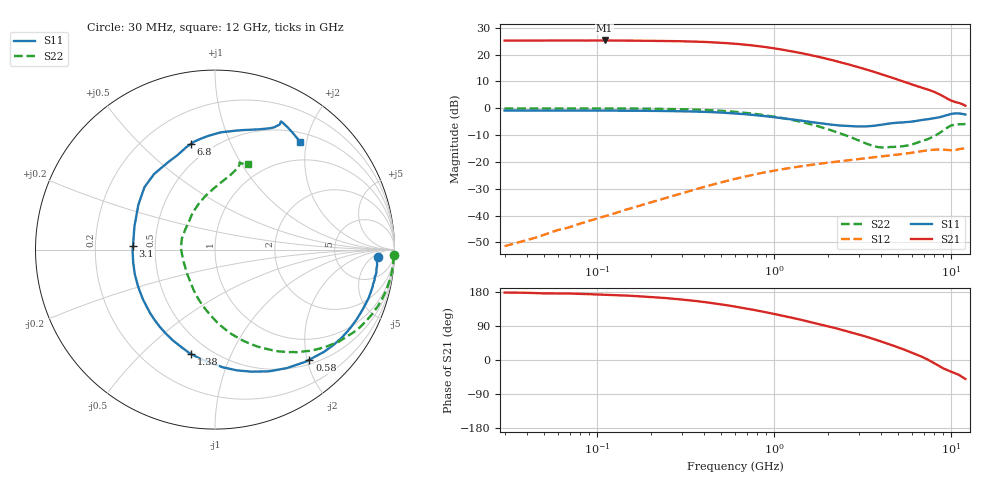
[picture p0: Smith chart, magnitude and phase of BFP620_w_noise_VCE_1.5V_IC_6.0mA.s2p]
! Infineon Technologies  Discrete & RF Semiconductors
! BFP620
! VCE =  1.5 V,  IC =  6.0 mA
! Common Emitter S-Parameters:  Nov 2015
# GHz  S  MA  R  50
!  f  S11  S21  S12  S22
! GHz  MAG  ANG  MAG  ANG  MAG  ANG  MAG  ANG
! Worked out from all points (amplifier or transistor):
!   239 points, 30 MHz to 12 GHz, reference 50 ohm
!   highest |S21| = 25.3 dB at 110 MHz (marker M1)
!   |S21| within 3 dB of that: start of sweep to 1.013 GHz
!   unconditionally stable (mu >= 1): 5.049 GHz to end of sweep
!   at 300 MHz: K = 0.09, MSG = 28.3 dB, |S12| = -31.7 dB
!   at 1.88 GHz: K = 0.56, MSG = 19.7 dB, |S12| = -20.5 dB
!   at 12 GHz: K = 1.19, MAG = 5.4 dB, |S12| = -15.1 dB
!   lowest NFmin = 0.65 dB at 450 MHz
!   S11 on the Smith chart (normalised r, x): 30 MHz: 17, -8; 580 MHz: 0.58, -2.04; 1.38 GHz: 0.40, -0.72; 3.1 GHz: 0.37, +0.02; 6.8 GHz: 0.39, +0.72; 12 GHz: 0.65, +1.89
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0.03  0.9091 -2.7  18.21 177.9  0.0027 87.7  0.9958 -1.8
0.07  0.9063 -6.1  18.34 175.4  0.0061 87.1  0.9958 -4.4
0.085  0.9071 -7.5  18.28 174.1  0.0075 86.5  0.9951 -5.4
0.11  0.903 -9.7  18.35 172.2  0.0097 85.1  0.9931 -7.0
0.175  0.8995 -15.3  18.13 168.2  0.0154 81.8  0.985 -11.1
0.24  0.89 -20.9  17.93 163.7  0.021 79.0  0.9743 -15.3
0.3  0.88 -26.2  17.72 159.6  0.0261 76.3  0.9614 -19.0
0.4  0.86 -34.8  17.25 153.1  0.0341 71.8  0.9322 -25.1
0.58  0.8082 -49.4  16.07 142.2  0.0471 64.1  0.8674 -35.3
0.6  0.8035 -51.0  15.96 141.0  0.0485 63.4  0.8605 -36.5
0.7  0.772 -58.8  15.23 135.5  0.0546 59.7  0.8191 -41.6
0.9  0.7109 -73.1  13.76 125.7  0.0647 53.0  0.7359 -50.9
1.1  0.6575 -86.1  12.42 117.2  0.073 47.6  0.6611 -58.8
1.38  0.5972 -102.7  10.86 107.3  0.0821 41.7  0.5686 -68.6
1.64  0.5505 -117.2  9.646 99.2  0.089 37.3  0.4954 -76.9
1.9  0.5169 -130.6  8.638 91.7  0.0948 33.4  0.4319 -84.8
2.4  0.4754 -154.2  7.099 79.6  0.1039 27.6  0.3336 -99.6
3.1  0.4574 177.6  5.624 65.3  0.1147 20.9  0.24 -122.3
4.5  0.5249 138.5  3.825 40.8  0.1322 9.5  0.1904 177.3
6.8  0.6039 102.8  2.431 8.8  0.1587 -7.1  0.2431 119.3
9  0.712 70.2  1.673 -22.0  0.1702 -27.7  0.3858 83.2
12  0.7652 51.6  1.116 -50.0  0.1766 -45.6  0.5106 69.2
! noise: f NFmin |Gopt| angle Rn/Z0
0.45  0.65  0.4  4  0.14
0.9  0.68  0.35  10  0.05
1.9  0.7  0.22  32  0.01
2.4  0.73  0.17  55  0.11
3.5  0.81  0.07  98  0.12
5.5  1.18  0.1  -162  0.13
10  1.8  0.6  -55  0.76
